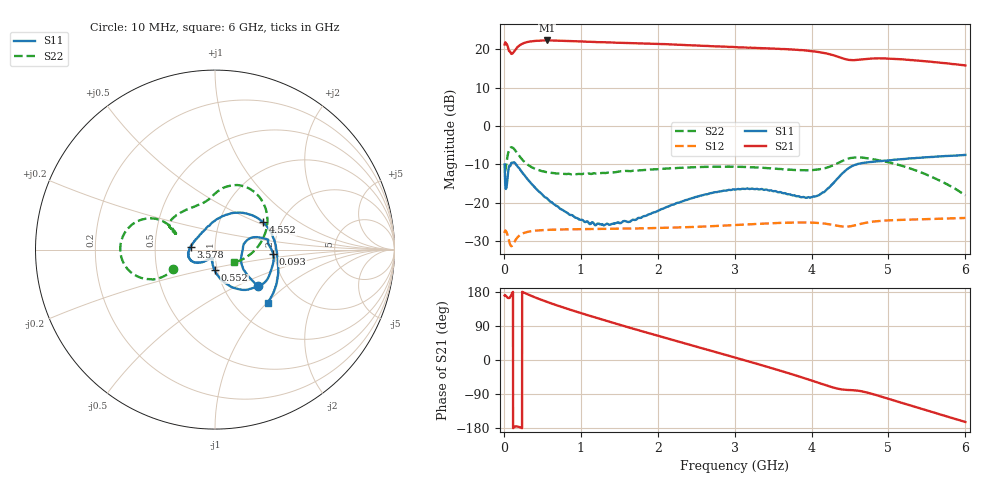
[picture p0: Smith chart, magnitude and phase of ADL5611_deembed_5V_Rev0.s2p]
! Created Thu Feb 07 07:06:51 2013
# hz S db R 50
! 2 Port Network Data from SP1.SP block
! freq  dbS11  angS11  dbS21  angS21  dbS12  angS12  dbS22  angS22
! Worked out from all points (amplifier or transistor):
!   5991 points, 10 MHz to 6 GHz, reference 50 ohm
!   highest |S21| = 22.3 dB at 562 MHz (marker M1)
!   |S21| within 3 dB of that: 130.4 MHz to 4.093 GHz (3.963 GHz wide, 188 % of centre)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
!   unconditionally stable (mu >= 1): start of sweep to end of sweep
!   at 1.008 GHz: K = 1.10, MAG = 22.5 dB, |S12| = -26.9 dB
!   at 3.005 GHz: K = 1.06, MAG = 21.7 dB, |S12| = -25.8 dB
!   at 6 GHz: K = 1.26, MAG = 16.8 dB, |S12| = -24.0 dB
!   S11 on the Smith chart (normalised r, x): 10 MHz: 1.45, -0.66; 93 MHz: 1.95, -0.10; 552 MHz: 0.97, -0.23; 3.578 GHz: 0.76, +0.02; 4.552 GHz: 1.61, +0.55; 6 GHz: 1.40, -1.02
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1e7  -10.02 -40.6  21.21 170.4  -27.89 17.9  -11.81 -154.8
5.8e7  -11.69 15.0  20.16 163.4  -29.14 -12.4  -6.91 -160.3
9.3e7  -9.78 -3.9  18.86 170.5  -31.28 -2.8  -5.57 -177.8
1.4e8  -9.57 -33.0  19.53 -176.1  -30.11 11.1  -6.15 165.0
1.92e8  -10.85 -51.2  20.79 -176.4  -28.72 11.4  -7.58 155.6
3.33e8  -14.45 -74.2  21.97 171.4  -27.49 4.2  -10.38 151.7
5.52e8  -18.73 -90.8  22.26 153.9  -27.08 -3.8  -12.04 155.4
5.62e8  -18.86 -91.6  22.27 153.1  -27.07 -4.1  -12.06 155.7
1.009e9  -24.43 -105.1  22.01 123.4  -26.87 -15.5  -12.56 157.8
1.288e9  -25.75 -111.8  21.83 106.2  -26.81 -21.8  -12.23 157.0
1.53e9  -25.14 -116.2  21.65 91.6  -26.74 -27.1  -11.81 156.2
2.007e9  -22.07 -128.6  21.34 63.7  -26.58 -37.6  -11.25 154.1
2.522e9  -18.39 -142.8  20.95 34.1  -26.26 -49.5  -10.73 151.9
3.005e9  -16.57 -157.8  20.54 6.5  -25.82 -62.0  -10.64 145.7
3.323e9  -16.52 -170.9  20.32 -12.0  -25.50 -71.3  -10.87 137.5
3.578e9  -17.26 174.4  20.09 -27.3  -25.26 -79.7  -11.21 127.9
4.004e9  -18.53 129.9  19.50 -54.4  -25.18 -95.2  -11.50 106.0
4.339e9  -13.68 70.6  18.07 -75.6  -26.00 -105.7  -9.71 86.8
4.552e9  -10.23 29.9  17.13 -80.0  -25.94 -104.7  -8.22 64.5
5.002e9  -8.94 -10.7  17.56 -102.5  -24.59 -120.7  -9.47 29.6
5.5e9  -8.14 -28.9  16.82 -133.1  -24.26 -141.1  -12.73 1.7
6e9  -7.55 -45.5  15.76 -163.6  -23.97 -162.5  -18.05 -34.4
